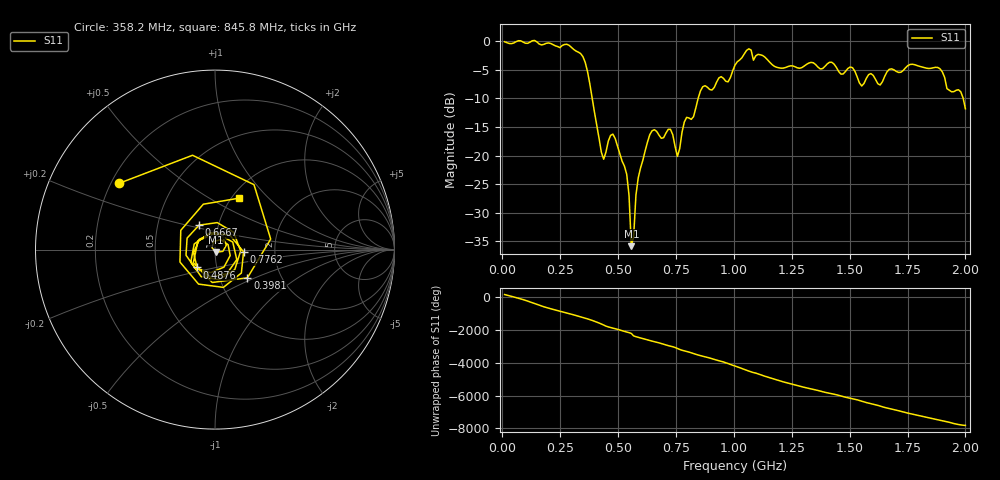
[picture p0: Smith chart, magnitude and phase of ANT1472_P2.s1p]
!Created with skrf (http://scikit-rf.org).
# Hz S RI R 50.0
!freq ReS11 ImS11
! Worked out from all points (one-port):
!   201 points, 10 MHz to 2 GHz, reference 50 ohm
!   lowest |S11| = -35.9 dB at 557.2 MHz (marker M1), VSWR 1.03, Z = 50.7 - j1.46 ohm
!   |S11| at or under -10 dB: 388 MHz to 845.8 MHz (457.8 MHz wide, 74.2 % of centre); 1.990421 GHz to end of sweep
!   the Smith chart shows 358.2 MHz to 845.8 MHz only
!   S11 on the Smith chart (normalised r, x): 358.2 MHz: 0.23, +0.29; 398.1 MHz: 1.35, -0.45; 487.6 MHz: 0.80, -0.16; 666.7 MHz: 0.81, +0.23; 776.1 MHz: 1.38, -0.04; 845.8 MHz: 1.08, +0.69
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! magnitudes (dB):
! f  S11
! 10 MHz  -0.1
! 258.8 MHz  -0.8
! 358.2 MHz  -3.7
! 398.1 MHz  -12.4
! 437.9 MHz  -20.6
! 467.7 MHz  -16.5
! 487.6 MHz  -17.0
! 507.5 MHz  -19.7
! 537.4 MHz  -23.3
! 547.3 MHz  -26.9
! 557.2 MHz  -35.9
! 567.2 MHz  -34.2
! 577.1 MHz  -26.9
! 587.1 MHz  -23.9
! 636.9 MHz  -16.4
! 666.7 MHz  -15.8
! 726.4 MHz  -15.4
! 756.2 MHz  -20.2
! 776.1 MHz  -15.9
! 845.8 MHz  -10.0
! 1.005 GHz  -4.2
! 1.065 GHz  -1.3
! 1.254 GHz  -4.3
! 1.502 GHz  -4.5
! 1.552 GHz  -7.8
! 1.751 GHz  -4.3
! 1.891 GHz  -4.8
! 2 GHz  -11.8
